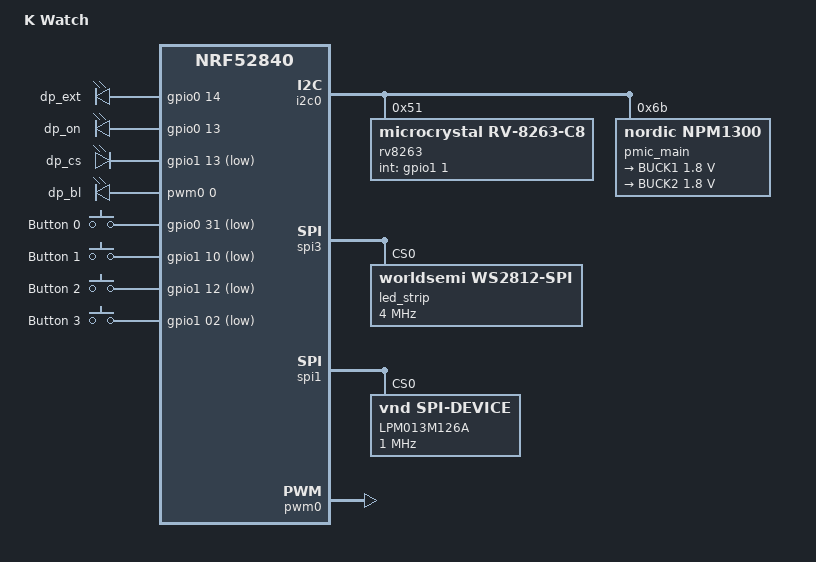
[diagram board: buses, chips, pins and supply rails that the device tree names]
/dts-v1/;
#include <nordic/nrf52840_qiaa.dtsi>
#include "k_watch-pinctrl.dtsi"
#include <zephyr/dt-bindings/led/led.h>
#include <zephyr/dt-bindings/gpio/gpio.h>
#include <zephyr/dt-bindings/pwm/pwm.h>

/ {
	model = "K Watch";
	compatible = "k_watch,k-watch";

	chosen {
		zephyr,sram = &sram0;
		zephyr,flash = &flash0;
		zephyr,code-partition = &slot0_partition;
		zephyr,storage-partition = &storage_partition;
	};

	aliases {
		led-strip = &led_strip;
		dpbl = &dp_bl;
		dpext = &dp_ext;
		dpon = &dp_on;
		dpcs = &dp_cs;
	};

	display_ctrl {
		compatible = "gpio-leds";
		dp_ext: dp_ext {
			gpios = <&gpio0 14 GPIO_ACTIVE_HIGH>;
		};

		dp_on: dp_on {
			gpios = <&gpio0 13 GPIO_ACTIVE_HIGH>;
		};

		dp_cs: dp_cs {
			gpios = <&gpio1 13 GPIO_ACTIVE_LOW>;
		};
	};

	pwmleds {
		compatible = "pwm-leds";
		dp_bl: dp_bl {
			pwms = <&pwm0 0 PWM_MSEC(1) PWM_POLARITY_INVERTED>;
		};
	};
};

&gpiote {
	status = "okay";
};

&gpio0 {
	status = "okay";
};

&gpio1 {
	status = "okay";
};

/ {
	buttons {
		compatible = "gpio-keys";
		button0: button_0 {
			gpios = <&gpio0 31 (GPIO_PULL_UP | GPIO_ACTIVE_LOW)>;
			label = "Button 0";
		};
		button1: button_1 {
			gpios = <&gpio1 10 (GPIO_PULL_UP | GPIO_ACTIVE_LOW)>;
			label = "Button 1";
		};
		button2: button_2 {
			gpios = <&gpio1 12 (GPIO_PULL_UP | GPIO_ACTIVE_LOW)>;
			label = "Button 2";
		};
		button3: button_3 {
			gpios = <&gpio1 02 (GPIO_PULL_UP | GPIO_ACTIVE_LOW)>;
			label = "Button 3";
		};
	};

	aliases {
		sw0 = &button0;
		sw1 = &button1;
		sw2 = &button2;
		sw3 = &button3;
	};

	chosen {
		zephyr,display = &dummy_dc;
	};

	dummy_dc: dummy_dc {
		compatible = "zephyr,dummy-dc";
		height = <176>;
		width = <176>;
	};
};

&i2c0 {
	compatible = "nordic,nrf-twim";
	status = "okay";
	pinctrl-0 = <&i2c0_default>;
	pinctrl-1 = <&i2c0_sleep>;
	pinctrl-names = "default", "sleep";

	rv8263: rv8263@51 {
		status = "okay";
		compatible = "microcrystal,rv-8263-c8";
		reg = <0x51>;
		int-gpios = <&gpio1 1 GPIO_PULL_UP>;
		clkout = <4096>;
	};

	pmic_main: npm1300@6b {
		compatible = "nordic,npm1300";
		reg = <0x6b>;

		pmic_charger: charger {
			compatible = "nordic,npm1300-charger";
			term-microvolt = <4150000>;
			term-warm-microvolt = <4000000>;
			current-microamp = <150000>;
			dischg-limit-microamp = <1000000>;
			vbus-limit-microamp = <500000>;
			thermistor-ohms = <10000>;
			thermistor-beta = <3380>;
			charging-enable;
		};

		regulators {
			compatible = "nordic,npm1300-regulator";

			BUCK1 {
				regulator-min-microvolt = <1800000>;
				regulator-max-microvolt = <1800000>;
				regulator-boot-on;
			};

			BUCK2 {
				regulator-min-microvolt = <1800000>;
				regulator-max-microvolt = <1800000>;
				regulator-boot-on;
			};
		};
	};
};

&spi3 {
	compatible = "nordic,nrf-spim";
	status = "okay";
	pinctrl-0 = <&spi3_default>;
	pinctrl-1 = <&spi3_sleep>;
	pinctrl-names = "default", "sleep";

	led_strip: ws2812@0 {
		compatible = "worldsemi,ws2812-spi";
		reg = <0>;
		spi-max-frequency = <4000000>;
		chain-length = <1>;
		color-mapping = <LED_COLOR_ID_GREEN
				 LED_COLOR_ID_RED
				 LED_COLOR_ID_BLUE>;
		spi-one-frame = <0x70>;
		spi-zero-frame = <0x40>;
	};
};


&spi1 {
	compatible = "nordic,nrf-spim";
	status = "okay";
	pinctrl-0 = <&spi1_default>;
	pinctrl-1 = <&spi1_sleep>;
	pinctrl-names = "default", "sleep";
	/delete-property/ cs-gpios;

	lpm013m126a: lpm013m126a@0 {
		compatible = "vnd,spi-device";
		reg = <0>;
		label = "LPM013M126A";
		spi-max-frequency = <1000000>;
	};
};

&pwm0 {
	status = "okay";
	pinctrl-0 = <&pwm0_default>;
	pinctrl-1 = <&pwm0_sleep>;
	pinctrl-names = "default", "sleep";
};

&flash0 {
	partitions {
		compatible = "fixed-partitions";
		#address-cells = <1>;
		#size-cells = <1>;

		boot_partition: partition@0 {
			label = "mcuboot";
			reg = <0x00000000 DT_SIZE_K(48)>;
		};

		slot0_partition: partition@c000 {
			label = "image-0";
			reg = <0x0000c000 DT_SIZE_K(472)>;
		};

		slot1_partition: partition@82000 {
			label = "image-1";
			reg = <0x00082000 DT_SIZE_K(472)>;
		};

		storage_partition: partition@f8000 {
			label = "storage";
			reg = <0x000f8000 DT_SIZE_K(32)>;
		};
	};
};
